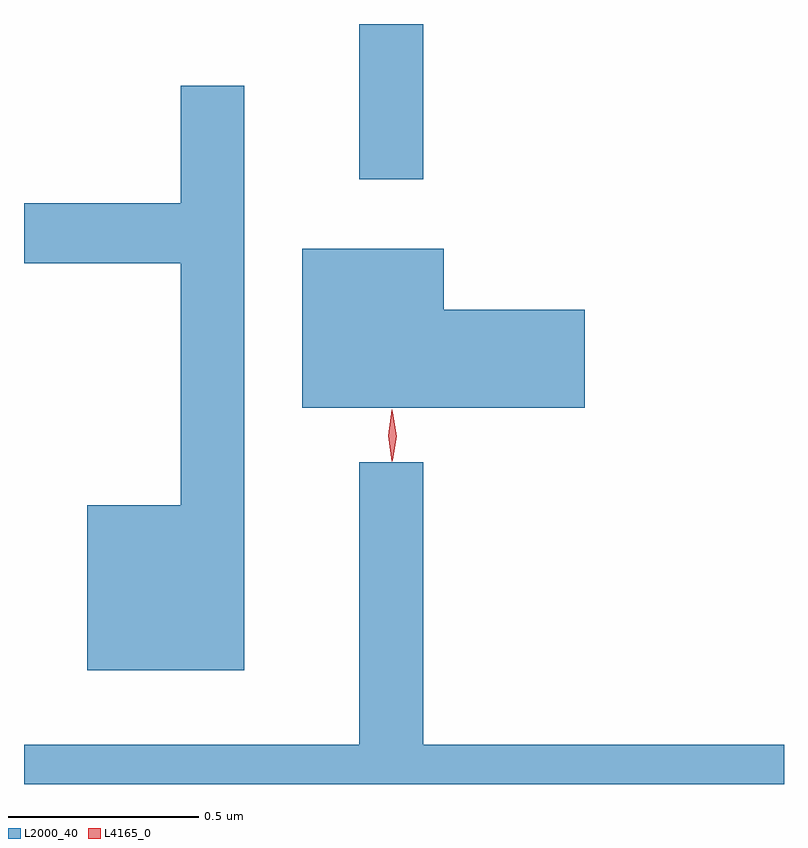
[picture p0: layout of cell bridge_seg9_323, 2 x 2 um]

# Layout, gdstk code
import gdstk
lib = gdstk.Library(unit=1e-6, precision=1e-09)
def R(c, l, rs):  # rectangles x0, y0, x1, y1
    for r in rs: c.add(gdstk.rectangle(r[:2], r[2:], *l))
def P(c, l, *ps):  # polygons
    for p in ps: c.add(gdstk.Polygon(p, *l))
L2000_40 = (2000, 40)
L4165_0 = (4165, 0)

bridge_seg9_323 = lib.new_cell('bridge_seg9_323')
R(bridge_seg9_323, L2000_40, [(1022.981,2053.512,1023.149,2053.921)])
P(bridge_seg9_323, L2000_40, [(1022.679,2053.758),(1022.511,2053.758),(1022.511,2053.449),(1022.099,2053.449),(1022.099,2053.291),(1022.511,2053.291),(1022.511,2052.654),(1022.266,2052.654),(1022.266,2052.221),(1022.679,2052.221)],
  [(1023.574,2053.169),(1023.204,2053.169),(1023.204,2053.329),(1022.831,2053.329),(1022.831,2052.911),(1023.574,2052.911)],
  [(1024.099,2052.024),(1023.149,2052.024),(1023.149,2052.768),(1022.981,2052.768),(1022.981,2052.024),(1022.099,2052.024),(1022.099,2051.921),(1024.099,2051.921)])
P(bridge_seg9_323, L4165_0, [(1023.067,2052.77),(1023.067,2052.77),(1023.057,2052.838),(1023.067,2052.906),(1023.067,2052.906),(1023.068,2052.906),(1023.077,2052.838),(1023.068,2052.77)],
  [(1023.07,2052.773),(1023.07,2052.774),(1023.06,2052.836),(1023.07,2052.899),(1023.07,2052.9),(1023.07,2052.899),(1023.08,2052.836),(1023.07,2052.774)])

lib.write_gds('bridge_seg9_323.gds')
